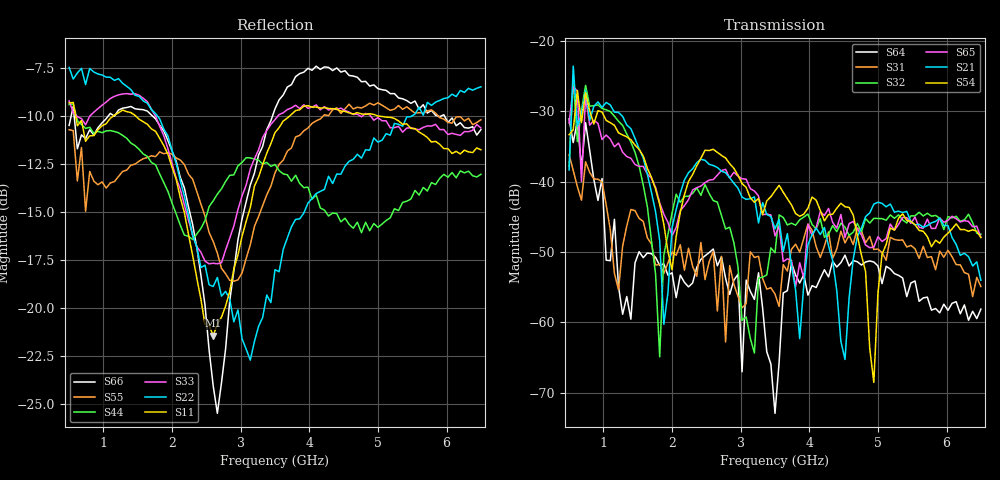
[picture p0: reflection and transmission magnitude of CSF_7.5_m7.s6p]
!Keysight Technologies,M9804A,MY58100912,A.14.10.03
!Date: Thursday, April 27, 2023 10:28:33
!Correction: S11(C  6-Port  )
!S12(C  6-Port  )
!S13(C  6-Port  )
!S14(C  6-Port  )
!S15(C  6-Port  )
!S16(C  6-Port  )
!S21(C  6-Port  )
!S22(C  6-Port  )
!S23(C  6-Port  )
!S24(C  6-Port  )
!S25(C  6-Port  )
!S26(C  6-Port  )
!S31(C  6-Port  )
!S32(C  6-Port  )
!S33(C  6-Port  )
!S34(C  6-Port  )
!S35(C  6-Port  )
!S36(C  6-Port  )
!S41(C  6-Port  )
!S42(C  6-Port  )
!S43(C  6-Port  )
!S44(C  6-Port  )
!S45(C  6-Port  )
!S46(C  6-Port  )
!S51(C  6-Port  )
!S52(C  6-Port  )
!S53(C  6-Port  )
!S54(C  6-Port  )
!S55(C  6-Port  )
!S56(C  6-Port  )
!S61(C  6-Port  )
!S62(C  6-Port  )
!S63(C  6-Port  )
!S64(C  6-Port  )
!S65(C  6-Port  )
!S66(C  6-Port  )
!S6P File: Measurement: :
# Hz S  RI  R 50
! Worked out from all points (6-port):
!   101 points, 500 MHz to 6.5 GHz, reference 50 ohm
!   strongest paths, dB at 500 MHz, 2 GHz, 3.5 GHz, 5 GHz, 6.5 GHz:
!     S54: -33.3, -52.5, -41.3, -55.9, -47.9
!     S21: -38.3, -46.5, -46.7, -42.9, -54.0
!     S65: -31.6, -47.7, -47.7, -47.8, -47.9
!     S32: -37.8, -44.5, -50.1, -45.2, -47.5
!     S31: -36.1, -50.0, -56.0, -49.6, -54.9
!     S64: -31.1, -53.0, -73.0, -52.0, -58.1
!   lowest |S11| = -21.4 dB at 2.6 GHz (marker M1), VSWR 1.19, Z = 42.5 + j2.31 ohm
!   |S11| at or under -10 dB: 593.9 MHz to 1.152 GHz (558.4 MHz wide, 64 % of centre); 1.464 GHz to 3.72 GHz (2.255 GHz wide, 87 % of centre); 4.987 GHz to end of sweep
